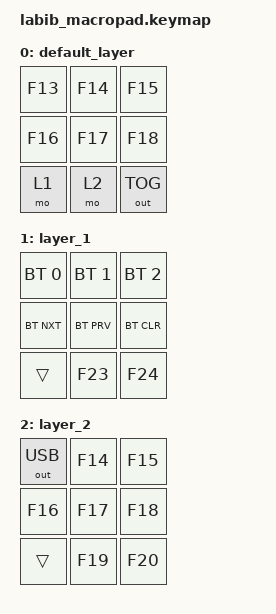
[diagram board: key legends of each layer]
#include <behaviors.dtsi>
#include <dt-bindings/zmk/keys.h>
#include <dt-bindings/zmk/bt.h>
#include <dt-bindings/zmk/outputs.h>

/ {
    keymap {
        compatible = "zmk,keymap";

        default_layer {
            bindings = <
                &kp F13   &kp F14   &kp F15
                &kp F16   &kp F17   &kp F18
                &mo 1     &mo 2     &out OUT_TOG
            >;
        };

        layer_1 {
            bindings = <
                &bt BT_SEL 0  &bt BT_SEL 1  &bt BT_SEL 2
                &bt BT_NXT   &bt BT_PRV    &bt BT_CLR
                &trans       &kp F23       &kp F24
            >;
        };

        layer_2 {
            bindings = <
                &out OUT_USB &kp F14   &kp F15
                &kp F16      &kp F17   &kp F18
                &trans       &kp F19   &kp F20
            >;
        };
    };
};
